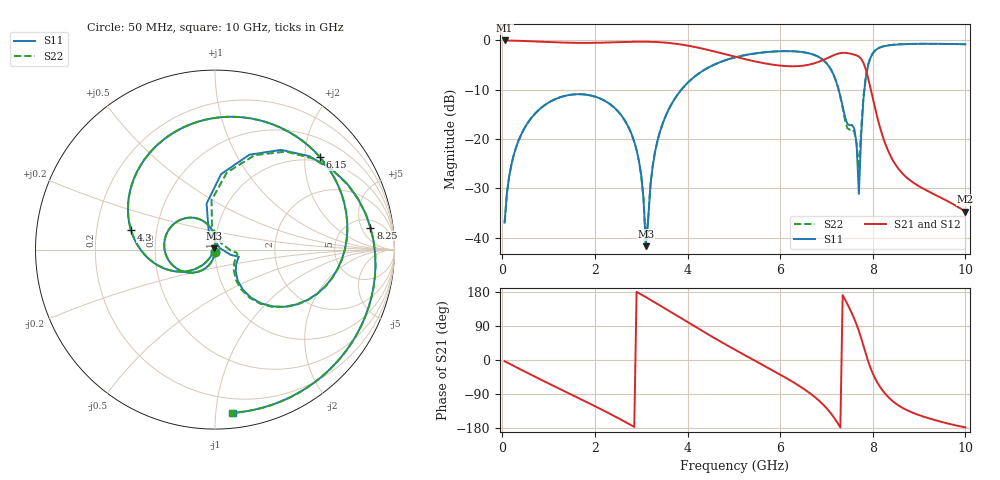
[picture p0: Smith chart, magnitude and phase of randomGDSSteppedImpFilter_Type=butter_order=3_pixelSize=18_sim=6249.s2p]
! freq	dB(S11)	phase(S11)	dB(S12)	phase(S12)
!  dB(S21)	phase(S21)	dB(S22)	phase(S22)
!S-par simulation data
#  GHz  S  DB  R 50
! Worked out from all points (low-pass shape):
!   200 points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, 50 MHz to 10 GHz, reference 50 ohm
!   highest |S21| = -0.01 dB at 50 MHz (marker M1); lowest = -34.7 dB at 10 GHz (marker M2)
!   |S21| within 3 dB of the highest: start of sweep to 4.905 GHz; 7.154 GHz to 7.64 GHz (486.4 MHz wide, 6.58 % of centre)
!   lowest |S11| = -41.7 dB at 3.1 GHz (marker M3), VSWR 1.02, Z = 49.5 + j0.668 ohm
!   |S11| at or under -10 dB: start of sweep to 3.865 GHz; 7.264 GHz to 7.82 GHz (556.1 MHz wide, 7.37 % of centre)
!   |S22| runs from -41.3 to -0.7 dB; largest |S21 - S12| = 0
!   S11 on the Smith chart (normalised r, x): 50 MHz: 1.00, -0.03; 4.3 GHz: 0.35, +0.10; 6.15 GHz: 0.90, +2.35; 8.25 GHz: 7, +7; 10 GHz: 0.10, -1.11
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0.05  -36.93 -92.7  -0.01 -3.2  -0.01 -3.2  -36.93 -92.7
0.2  -25.02 -102.6  -0.04 -12.7  -0.04 -12.7  -25.02 -102.6
0.5  -17.44 -121.8  -0.12 -31.4  -0.12 -31.4  -17.44 -121.8
1.75  -10.93 162.9  -0.50 -106.7  -0.50 -106.7  -10.93 162.9
2.8  -19.19 98.7  -0.28 -173.2  -0.28 -173.2  -19.19 98.9
3  -27.38 90.0  -0.25 173.0  -0.25 173.0  -27.36 90.7
3.1  -41.69 124.9  -0.26 166.0  -0.26 166.0  -41.26 127.1
3.25  -25.29 -122.3  -0.29 155.2  -0.29 155.2  -25.28 -122.9
3.4  -18.65 -129.7  -0.36 144.3  -0.36 144.3  -18.65 -130.0
4.3  -6.33 166.6  -1.62 78.0  -1.62 78.0  -6.33 166.5
5.05  -3.38 114.6  -3.35 25.4  -3.35 25.4  -3.38 114.5
6.15  -2.17 41.4  -5.21 -48.9  -5.21 -48.9  -2.17 41.3
6.7  -2.81 0.1  -4.74 -93.0  -4.74 -93.0  -2.81 -0.0
7.05  -5.20 -33.7  -3.45 -134.0  -3.45 -134.0  -5.22 -34.0
7.35  -13.40 -53.7  -2.52 171.2  -2.52 171.2  -13.72 -55.4
7.6  -17.83 -16.9  -2.88 108.9  -2.88 108.9  -18.48 -8.0
7.7  -31.10 18.5  -3.28 76.6  -3.28 76.6  -26.07 45.1
7.85  -7.50 85.4  -5.88 16.3  -5.88 16.3  -7.25 81.3
8.25  -1.16 8.1  -20.41 -86.2  -20.41 -86.2  -1.14 7.1
8.35  -0.99 -1.4  -22.74 -99.6  -22.74 -99.6  -0.97 -2.2
9.05  -0.69 -44.6  -29.83 -147.6  -29.83 -147.6  -0.68 -45.0
10  -0.77 -83.9  -34.67 -177.8  -34.67 -177.8  -0.77 -84.2
